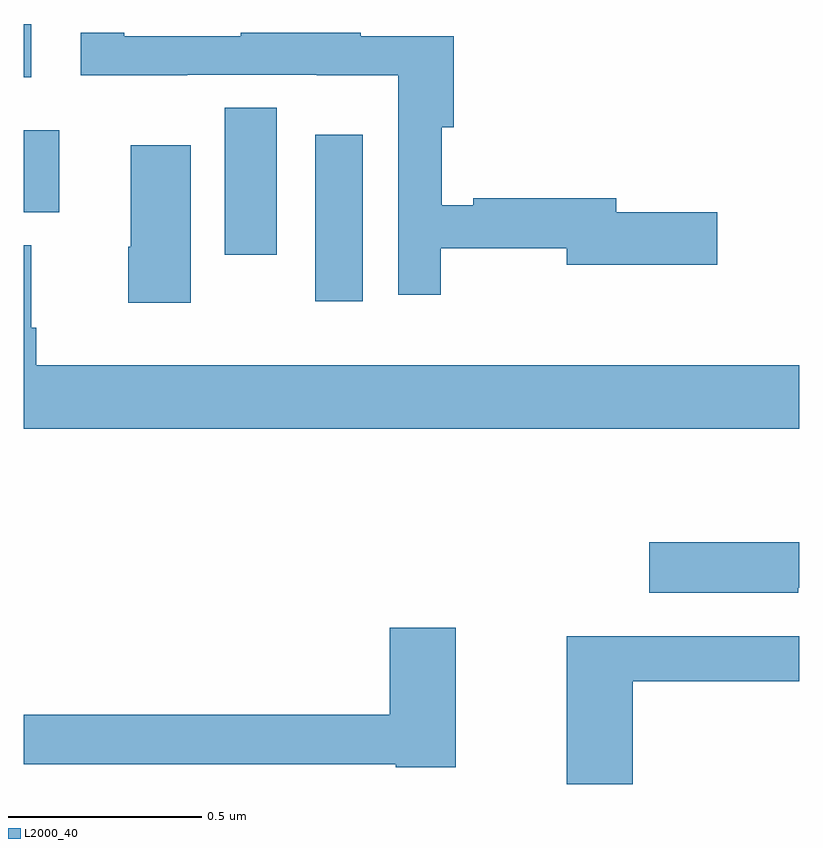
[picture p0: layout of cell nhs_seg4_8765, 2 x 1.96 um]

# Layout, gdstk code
import gdstk
lib = gdstk.Library(unit=1e-6, precision=1e-09)
def R(c, l, rs):  # rectangles x0, y0, x1, y1
    for r in rs: c.add(gdstk.rectangle(r[:2], r[2:], *l))
def P(c, l, *ps):  # polygons
    for p in ps: c.add(gdstk.Polygon(p, *l))
L2000_40 = (2000, 40)

nhs_seg4_8765 = lib.new_cell('nhs_seg4_8765')
R(nhs_seg4_8765, L2000_40, [(219.752,761.184,219.874,761.614), (219.518,761.304,219.652,761.684), (219,761.414,219.091,761.626), (219,761.763,219.019,761.9)])
P(nhs_seg4_8765, L2000_40, [(220.075,761.322),(220.4,761.322),(220.4,761.279),(220.789,761.279),(220.789,761.414),(220.528,761.414),(220.528,761.45),(220.159,761.45),(220.159,761.432),(220.078,761.432),(220.078,761.633),(220.109,761.633),(220.109,761.868),(219.869,761.868),(219.869,761.878),(219.559,761.878),(219.559,761.868),(219.259,761.868),(219.259,761.878),(219.147,761.878),(219.147,761.768),(219.422,761.768),(219.422,761.769),(219.756,761.769),(219.756,761.768),(219.966,761.768),(219.966,761.202),(220.075,761.202)],
  [(219.43,761.587),(219.275,761.587),(219.275,761.325),(219.269,761.325),(219.269,761.181),(219.43,761.181)],
  [(221,761.02),(219.032,761.02),(219.032,761.116),(219.019,761.116),(219.019,761.329),(219,761.329),(219,760.856),(221,760.856)],
  [(220.998,760.446),(221,760.446),(221,760.563),(220.614,760.563),(220.614,760.433),(220.998,760.433)],
  [(220.114,760.342),(219.944,760.342),(219.944,760.118),(219,760.118),(219,759.99),(219.96,759.99),(219.96,759.982),(220.114,759.982)],
  [(220.571,760.204),(221,760.204),(221,760.32),(220.4,760.32),(220.4,759.939),(220.571,759.939)])

lib.write_gds('nhs_seg4_8765.gds')
